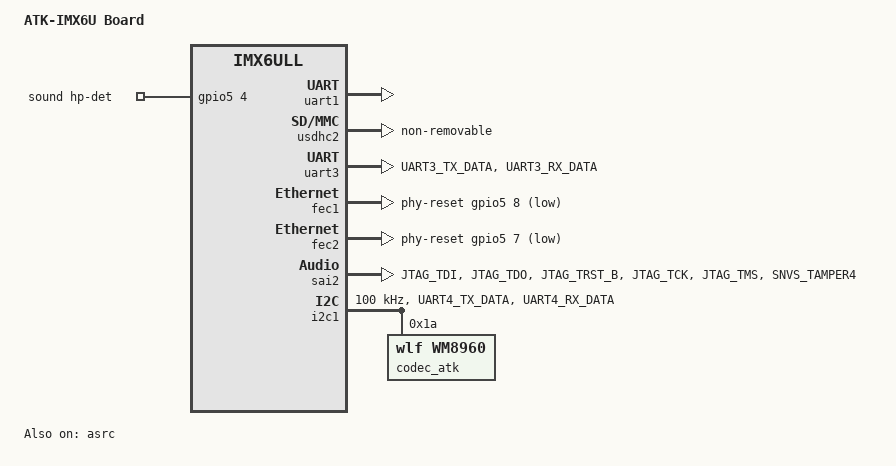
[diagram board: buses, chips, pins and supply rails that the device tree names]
// SPDX-License-Identifier: (GPL-2.0 OR MIT)
//
// ATK-IMX6U 最小系統 Device Tree
// 僅啟用：UART、eMMC、乙太網（ENET2）
// 基底：NXP i.MX6ULL 14x14 EVK + 硬體接線文件
//
// 學習筆記：
//   &label {}  = 覆蓋或擴充 dtsi 中已定義的節點
//   status     = "okay" 啟用，"disabled" 停用
//   pinctrl-0  = 指向此裝置使用的腳位配置群組

/dts-v1/;

#include "imx6ull.dtsi"
#include "imx6ul-14x14-evk.dtsi"
#include "imx6ull-pinfunc-snvs.h"

/ {
	model = "ATK-IMX6U Board";
	compatible = "fsl,imx6ull-14x14-evk", "fsl,imx6ull";

	chosen {
		stdout-path = &uart1;
	};

	sound {
		compatible = "fsl,imx6ul-evk-wm8960", "fsl,imx-audio-wm8960";
		model = "atk-wm8960";
		audio-cpu = <&sai2>;
		audio-codec = <&codec_atk>;
		audio-asrc = <&asrc>;
		hp-det-gpio = <&gpio5 4 0>;
		audio-routing =
			"Headphone Jack", "HP_L",
			"Headphone Jack", "HP_R",
			"Ext Spk", "SPK_LP",
			"Ext Spk", "SPK_LN",
			"Ext Spk", "SPK_RP",
			"Ext Spk", "SPK_RN",
			"LINPUT2", "Mic Jack",
			"LINPUT1", "Mic Jack",
			"RINPUT1", "AMIC",
			"RINPUT2", "AMIC",
			"LINPUT3", "AMIC",
			"Mic Jack", "MICB",
			"AMIC", "MICB";
	};
};

/* 序列埠（UART1 / ttymxc0 / COM7） */
&uart1 {
	status = "okay";
};

/* eMMC（usdhc2 = mmcblk1） */
&usdhc2 {
	status = "okay";
	non-removable;
};

/* UART2（ttymxc1）：移除 RTS/CTS 以釋放腳位給 UART3 */
&uart2 {
	/delete-property/ uart-has-rtscts;
};

/* UART3（ttymxc2）：TP8485E RS-485 */
&uart3 {
	pinctrl-names = "default";
	pinctrl-0 = <&pinctrl_uart3>;
	/delete-property/ dmas;
	/delete-property/ dma-names;
	status = "okay";
};

/* ─────────── 乙太網 ─────────── */
// 基底以 imx6ul-14x14-evk.dtsi 為準，此處僅補上差異：
//   fec1（2188000 = ENET2）→ ethphy0（reg=2）
//   fec2（20b4000 = ENET1）→ ethphy1（reg=1）
//
// 原理圖（底板 J2）PHY reset 對應：
//   J2_9  = SNVS_TAMPER8 (GPIO5_IO08) = ENET2_RST → fec1 (ENET2)
//   J2_10 = SNVS_TAMPER7 (GPIO5_IO07) = ENET1_RST → fec2 (ENET1)

&fec1 {
	phy-reset-gpios = <&gpio5 8 GPIO_ACTIVE_LOW>;
	phy-reset-duration = <200>;
};

&fec2 {
	phy-reset-gpios = <&gpio5 7 GPIO_ACTIVE_LOW>;
	phy-reset-duration = <200>;
};

/* 將 PHY 型號從 KSZ8081 改為 SR8201F */
&ethphy0 {
	compatible = "ethernet-phy-id0011.0140";
};

&ethphy1 {
	compatible = "ethernet-phy-id0011.0140";
};

/* SNVS 腳位控制器：定義 PHY reset 腳位的 GPIO 模式 + 音訊 hp-detect */
&iomuxc_snvs {
	pinctrl_fec1_reset: fec1_resetgrp {
		fsl,pins = <MX6ULL_PAD_SNVS_TAMPER8__GPIO5_IO08 0x79>;
	};

	pinctrl_fec2_reset: fec2_resetgrp {
		fsl,pins = <MX6ULL_PAD_SNVS_TAMPER7__GPIO5_IO07 0x79>;
	};

	pinctrl_sai2_hp_det_b: sai2_hp_det_grp {
		fsl,pins = <
			MX6ULL_PAD_SNVS_TAMPER4__GPIO5_IO04	0x17059
		>;
	};
};

/* 關閉 spi-4（bitbang SPI），它佔用了 PHY reset 用的 GPIO5_IO07/IO08 */
&{/spi-4} {
	status = "disabled";
};

/* IOMUX：UART2（移除 RTS/CTS 腳位）+ UART3 + SAI2（音訊）+ I2C1 腳位配置 */
&iomuxc {
	pinctrl_uart2: uart2grp {
		fsl,pins = <
			MX6UL_PAD_UART2_TX_DATA__UART2_DCE_TX	0x1b0b1
			MX6UL_PAD_UART2_RX_DATA__UART2_DCE_RX	0x1b0b1
		>;
	};

	pinctrl_uart3: uart3grp {
		fsl,pins = <
			MX6UL_PAD_UART3_TX_DATA__UART3_DCE_TX	0x1b0b1
			MX6UL_PAD_UART3_RX_DATA__UART3_DCE_RX	0x1b0b1
		>;
	};

	pinctrl_sai2: sai2grp {
		fsl,pins = <
			MX6UL_PAD_JTAG_TDI__SAI2_TX_BCLK	0x17088
			MX6UL_PAD_JTAG_TDO__SAI2_TX_SYNC	0x17088
			MX6UL_PAD_JTAG_TRST_B__SAI2_TX_DATA	0x11088
			MX6UL_PAD_JTAG_TCK__SAI2_RX_DATA	0x11088
			MX6UL_PAD_JTAG_TMS__SAI2_MCLK		0x17088
		>;
	};

	pinctrl_i2c1: i2c1grp {
		fsl,pins = <
			MX6UL_PAD_UART4_TX_DATA__I2C1_SCL	0x4001b8b0
			MX6UL_PAD_UART4_RX_DATA__I2C1_SDA	0x4001b8b0
		>;
	};
};

/* ─────────── 音訊（WM8960）─────────── */
// WM8960G（底板 U13）：
//   SAI2：MCLK=P14、BCLK=N16、DACLRC=N15、DACDAT=N14、ADCDAT=M14（JTAG 複用）
//   I2C1：SCLK=G17、SDIN=G16（UART4 複用），位址 0x1A
//   AUD_INT：ADCLRC/GPIO1 → SNVS_TAMPER4 (GPIO5_IO04)，ALRCGPIO=1（wlf,shared-lrclk）

&sai2 {
	pinctrl-names = "default";
	pinctrl-0 = <&pinctrl_sai2
		     &pinctrl_sai2_hp_det_b>;

	assigned-clocks = <&clks IMX6UL_CLK_SAI2_SEL>,
			  <&clks IMX6UL_CLK_SAI2>;
	assigned-clock-parents = <&clks IMX6UL_CLK_PLL4_AUDIO_DIV>;
	assigned-clock-rates = <0>, <12288000>;
	fsl,sai-mclk-direction-output;
	status = "okay";
};

&i2c1 {
	clock-frequency = <100000>;
	pinctrl-names = "default";
	pinctrl-0 = <&pinctrl_i2c1>;
	status = "okay";

	codec_atk: wm8960@1a {
		compatible = "wlf,wm8960";
		reg = <0x1a>;
		clocks = <&clks IMX6UL_CLK_SAI2>;
		clock-names = "mclk";
		wlf,shared-lrclk;
		wlf,hp-cfg = <3 2 3>;
		wlf,gpio-cfg = <1 3>;
	};
};

&asrc {
	status = "okay";
};

/* 官方 dtsi 的 codec 在 i2c2（本板未接 WM8960）→ 禁用避免誤 probe */
&codec {
	status = "disabled";
};
